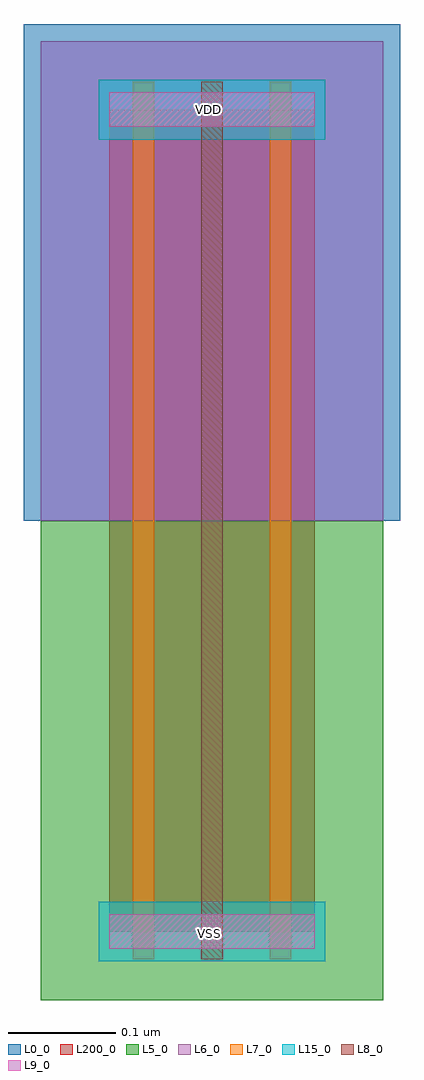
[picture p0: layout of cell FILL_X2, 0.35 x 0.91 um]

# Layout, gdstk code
import gdstk
lib = gdstk.Library(unit=1e-6, precision=1e-09)
def R(c, l, rs):  # rectangles x0, y0, x1, y1
    for r in rs: c.add(gdstk.rectangle(r[:2], r[2:], *l))
L0_0 = (0, 0)
L5_0 = (5, 0)
L6_0 = (6, 0)
L7_0 = (7, 0)
L8_0 = (8, 0)
L9_0 = (9, 0)
L15_0 = (15, 0)
L200_0 = (200, 0)

fill_x2 = lib.new_cell('FILL_X2')
R(fill_x2, L0_0, [(-0.08,0.384,0.272,0.848)])
R(fill_x2, L5_0, [(-0.064,-0.064,0.256,0.384)])
R(fill_x2, L6_0, [(-0.064,0.384,0.256,0.832)])
R(fill_x2, L7_0, [(0.022,-0.026,0.042,0.794), (0.15,-0.026,0.17,0.794)])
R(fill_x2, L8_0, [(0.086,-0.026,0.106,0.794)])
R(fill_x2, L9_0, [(0,-0.016,0.192,0.016), (0,0.752,0.192,0.784)])
R(fill_x2, L15_0, [(-0.01,-0.028,0.202,0.028), (-0.01,0.74,0.202,0.796)])
R(fill_x2, L200_0, [(0,0,0.192,0.768)])
fill_x2.add(gdstk.Label('VSS', (0.094,-0.002), layer=15, texttype=20))
fill_x2.add(gdstk.Label('VDD', (0.093,0.768), layer=15, texttype=20))

lib.write_gds('FILL_X2.gds')
